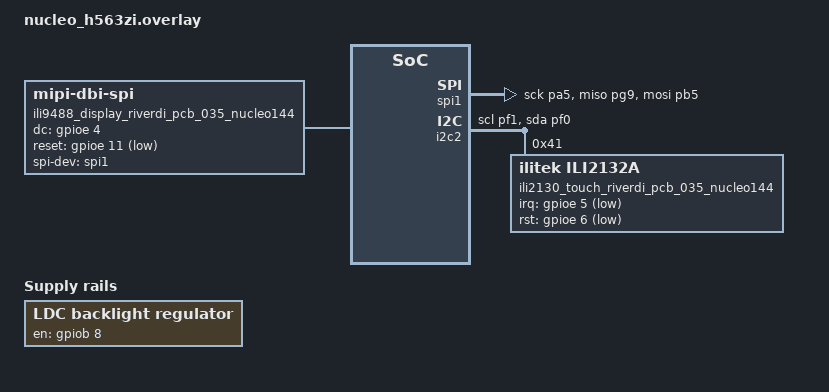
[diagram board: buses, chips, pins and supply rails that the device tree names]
#include <zephyr/dt-bindings/display/panel.h>

/ {
    chosen {
        zephyr,display = &ili9488_display_riverdi_pcb_035_nucleo144;
        zephyr,touch = &ili2130_touch_riverdi_pcb_035_nucleo144;
    };

    lvgl_pointer {
        compatible = "zephyr,lvgl-pointer-input";
        display = <&ili9488_display_riverdi_pcb_035_nucleo144>;
        input = <&ili2130_touch_riverdi_pcb_035_nucleo144>;
        swap-xy;
        invert-x;
    };

    backlight_pwm {
        compatible = "regulator-fixed";
        enable-gpios = <&gpiob 8 GPIO_ACTIVE_HIGH>; //CN7-2 - PB8
        regulator-boot-on;
        regulator-name = "LDC backlight regulator";
    };

    ili9488_display_riverdi_pcb_035_nucleo144 {
    compatible = "zephyr,mipi-dbi-spi";
    spi-dev = <&spi1>;
    dc-gpios = <&gpioe 4 GPIO_ACTIVE_HIGH>; // CN9-16 - PE4
    reset-gpios = <&gpioe 11 GPIO_ACTIVE_LOW>; // CN10-6 - PE11
    write-only;
    #address-cells = <1>;
    #size-cells = <0>;

    ili9488_display_riverdi_pcb_035_nucleo144: ili9488@0{
        compatible = "ilitek,ili9488";
        mipi-max-frequency = <25000000>;
        reg = <0>;
        pixel-format = <PANEL_PIXEL_FORMAT_RGB_888>;
        height = <320>;
        width = <480>;
        display-inversion;
        pgamctrl = [00 03 09 08 16 0a 3f 78 4c 09 0a 08 16 1a 0f];
        ngamctrl = [00 16 19 03 0f 05 32 45 46 04 0e 0d 35 37 0f];
        };
    };
};

&spi1 {
	pinctrl-0 = <&spi1_sck_pa5 &spi1_miso_pg9 &spi1_mosi_pb5>;
	pinctrl-names = "default";
	cs-gpios = <&gpiod 7 (GPIO_ACTIVE_LOW | GPIO_PULL_UP)>; //CN9.2 - PD7
	status = "okay";
};

&i2c2 {
	pinctrl-0 = <&i2c2_scl_pf1 &i2c2_sda_pf0>;
	pinctrl-names = "default";
	status = "okay";

    ili2130_touch_riverdi_pcb_035_nucleo144: ili2132a@41{
        compatible = "ilitek,ili2132a";
        reg = <0x41>;
        irq-gpios = <&gpioe 5 GPIO_ACTIVE_LOW>; //CN9-18 - PE5
        rst-gpios = <&gpioe 6 GPIO_ACTIVE_LOW>; //CN9-20 - PE6
    };
};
